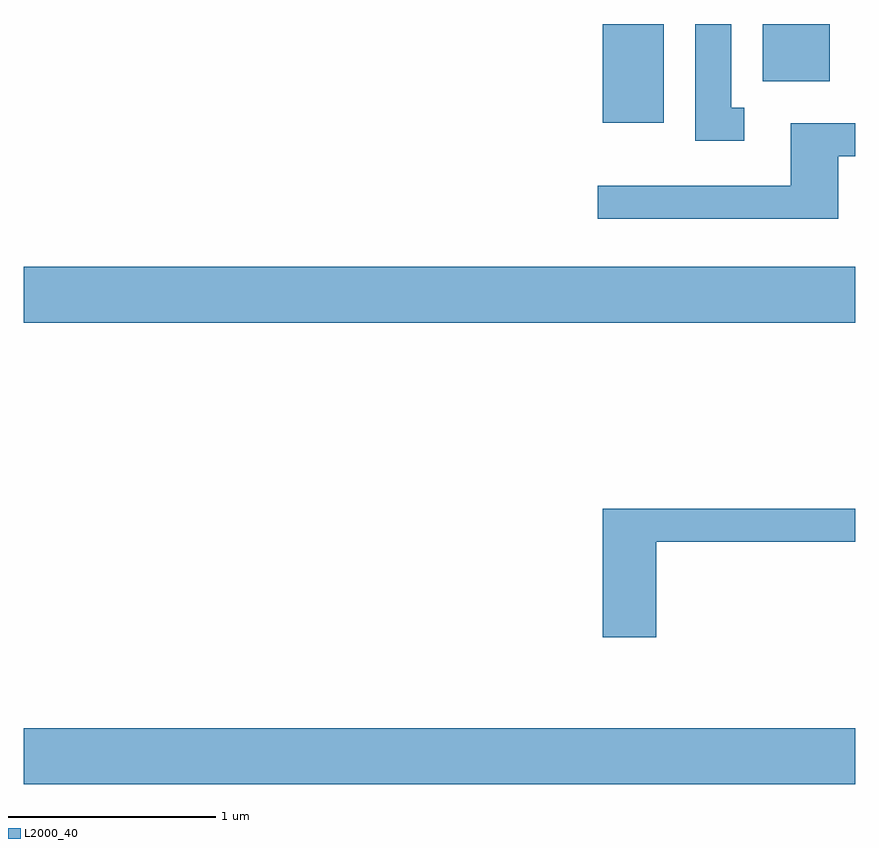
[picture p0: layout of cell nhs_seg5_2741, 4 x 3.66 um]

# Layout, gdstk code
import gdstk
lib = gdstk.Library(unit=1e-6, precision=1e-09)
def R(c, l, rs):  # rectangles x0, y0, x1, y1
    for r in rs: c.add(gdstk.rectangle(r[:2], r[2:], *l))
def P(c, l, *ps):  # polygons
    for p in ps: c.add(gdstk.Polygon(p, *l))
L2000_40 = (2000, 40)

nhs_seg5_2741 = lib.new_cell('nhs_seg5_2741')
R(nhs_seg5_2741, L2000_40, [(267.611,1392.416,271.611,1392.684), (267.611,1394.636,271.611,1394.904), (270.396,1395.596,270.689,1396.072), (271.166,1395.796,271.489,1396.072)])
P(nhs_seg5_2741, L2000_40, [(271.078,1395.669),(271.014,1395.669),(271.014,1396.072),(270.841,1396.072),(270.841,1395.511),(271.078,1395.511)],
  [(271.529,1395.436),(271.611,1395.436),(271.611,1395.594),(271.301,1395.594),(271.301,1395.294),(270.373,1395.294),(270.373,1395.136),(271.529,1395.136)],
  [(270.654,1393.581),(271.611,1393.581),(271.611,1393.739),(270.396,1393.739),(270.396,1393.121),(270.654,1393.121)])

lib.write_gds('nhs_seg5_2741.gds')
